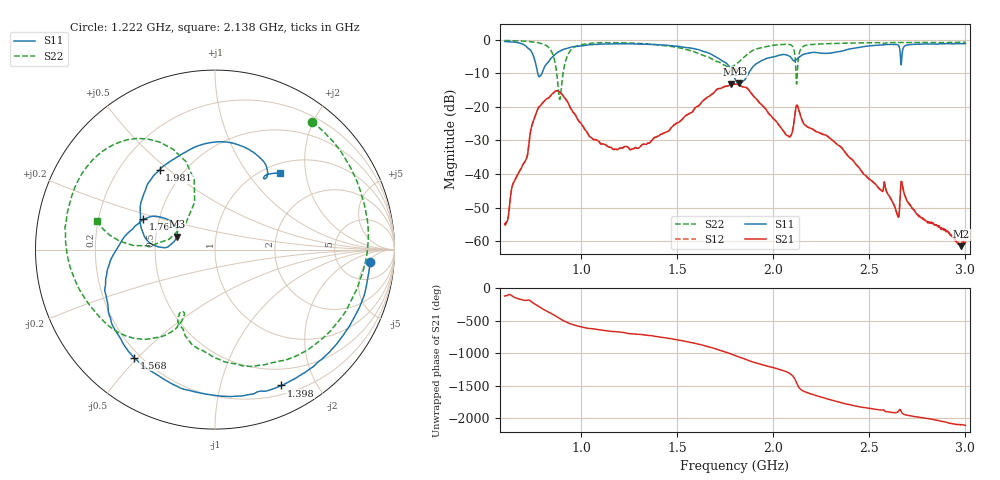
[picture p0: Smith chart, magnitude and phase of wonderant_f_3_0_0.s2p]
#  HZ  S  RI  R  50.00
! Rohde & Schwarz ZVB8 2Ports - Version 2.81 - 1145.1010k08 SN: 100113
! Date: 2016-05-17 22:37:10
! Measurements: S11 S21 S12 S22
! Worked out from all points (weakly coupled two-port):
!   1000 points, 600 MHz to 3 GHz, reference 50 ohm
!   highest |S21| = -13.18 dB at 1.78 GHz (marker M1); lowest = -61.5 dB at 2.978 GHz (marker M2)
!   lowest |S11| = -13.0 dB at 1.82 GHz (marker M3), VSWR 1.58, Z = 32.2 + j4.92 ohm
!   |S11| at or under -10 dB: 772.5 MHz to 794.6 MHz (22.14 MHz wide, 2.83 % of centre); 1.787 GHz to 1.871 GHz (83.77 MHz wide, 4.58 % of centre)
!   |S22| runs from -17.8 to -0.2 dB; largest |S21 - S12| = 0.0019
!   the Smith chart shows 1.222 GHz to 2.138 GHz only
!   S11 on the Smith chart (normalised r, x): 1.222 GHz: 11, -6; 1.398 GHz: 0.30, -1.56; 1.568 GHz: 0.18, -0.49; 1.76 GHz: 0.41, +0.17; 1.981 GHz: 0.37, +0.46; 2.138 GHz: 1.17, +1.45
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6e8  -0.8038 0.4913  -0.000804 -0.0016  -0.000793 -0.00159  -0.9449 0.2384
7.033033e8  -0.2269 0.8018  -0.0149 0.000675  -0.0148 0.000943  -0.7116 0.6372
7.84985e8  -0.0716 0.2781  0.0407 0.0946  0.0403 0.0944  -0.2992 0.8314
8.570571e8  -0.2561 0.5213  0.1094 -0.122  0.1094 -0.122  0.34 0.4113
8.978979e8  -0.1496 0.6824  -0.0828 -0.131  -0.0822 -0.1314  -0.154 -0.1659
1.001201e9  0.3146 0.7453  -0.033 0.0439  -0.0331 0.0437  -0.4652 0.7043
1.222222e9  0.8661 -0.0681  0.0192 0.0166  0.0191 0.0167  0.5428 0.7127
1.397598e9  0.3697 -0.7571  0.0333 -0.0148  0.0335 -0.0147  0.835 -0.081
1.4e9  0.3585 -0.7619  0.0332 -0.0154  0.0333 -0.0154  0.8317 -0.0937
1.568168e9  -0.4503 -0.6019  -0.0308 -0.0756  -0.0307 -0.0757  0.2407 -0.6451
1.76036e9  -0.3984 0.1684  -0.00424 0.2025  -0.00471 0.2026  -0.1907 -0.3479
1.77958e9  -0.2993 0.1799  0.0693 0.2079  0.0686 0.2081  -0.1727 -0.3499
1.801201e9  -0.22 0.1296  0.1475 0.1605  0.1465 0.1612  -0.1779 -0.3823
1.82042e9  -0.2125 0.0726  0.1907 0.0909  0.1903 0.0926  -0.2044 -0.4195
1.981381e9  -0.3087 0.4428  -0.0437 -0.0627  -0.0432 -0.0629  -0.7992 -0.1198
2.099099e9  0.2932 0.415  -0.00634 0.0426  -0.00656 0.0425  -0.5321 0.5988
2.137538e9  0.3618 0.4258  -0.0144 -0.0783  -0.0137 -0.0788  -0.6558 0.1575
2.2e9  0.6275 0.1472  -0.0465 0.00697  -0.0466 0.00676  -0.571 0.6296
2.425826e9  0.1882 -0.7282  0.0143 -0.00193  0.0143 -0.00186  0.2952 0.8446
2.601201e9  -0.5791 -0.6226  -0.000965 -0.00471  -0.000881 -0.00473  0.7887 0.4408
2.978378e9  -0.699 0.5248  0.000397 0.00074  0.000426 0.00076  0.5902 -0.6979
3e9  -0.6564 0.5756  0.000595 0.000753  0.000548 0.000689  0.5435 -0.7352
